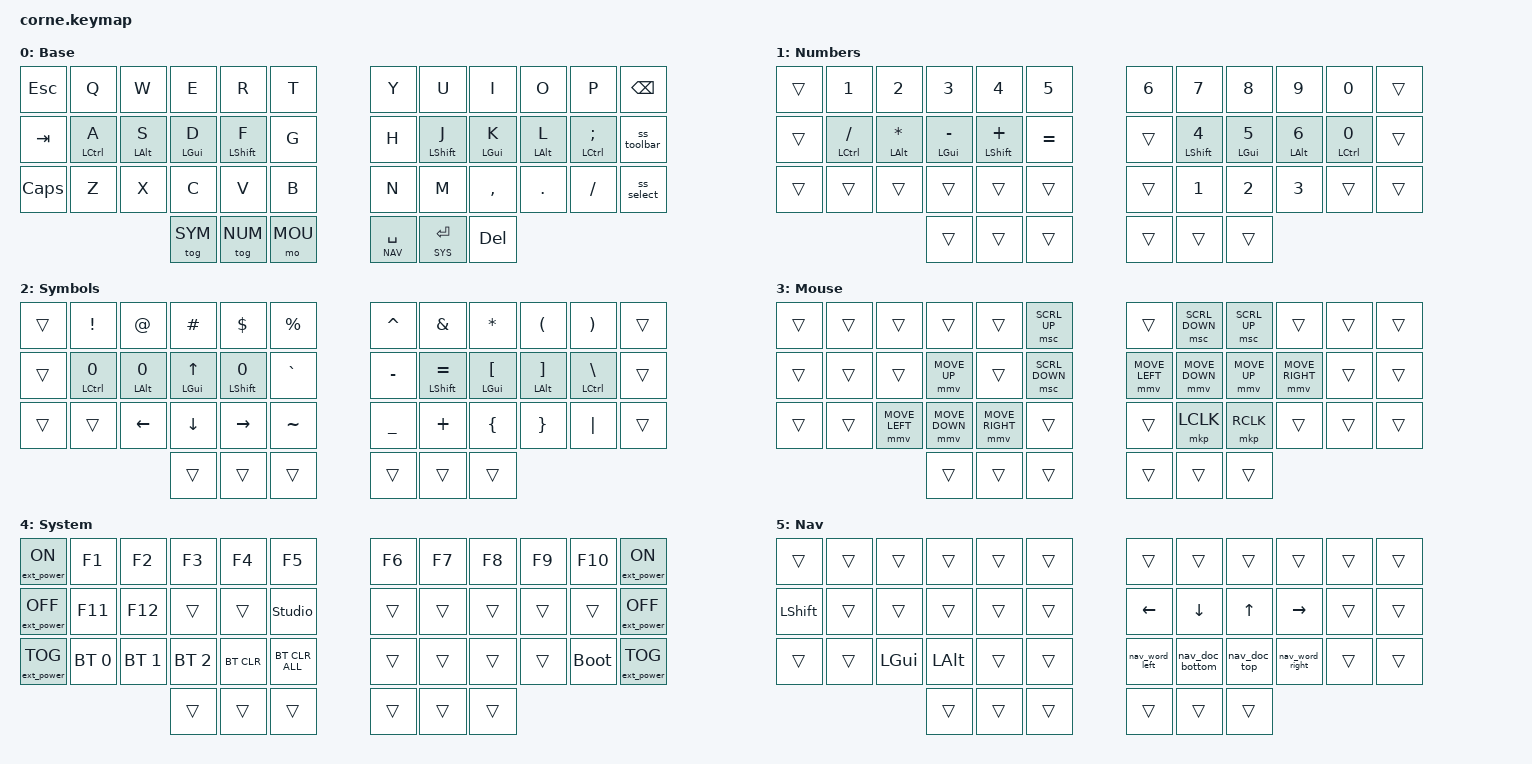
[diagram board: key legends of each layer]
#include <behaviors.dtsi>
#include <dt-bindings/zmk/bt.h>
#include <dt-bindings/zmk/keys.h>
#include <dt-bindings/zmk/pointing.h>
#include <dt-bindings/zmk/ext_power.h>

#define DEF 0
#define NUM 1
#define SYM 2
#define MOU 3
#define SYS 4
#define NAV 5

/ {
    behaviors {
        hm: homerow_mods {
            compatible = "zmk,behavior-hold-tap";
            #binding-cells = <2>;
            tapping-term-ms = <200>;
            flavor = "tap-preferred";
            bindings = <&kp>, <&kp>;

            quick-tap-ms = <180>;
            require-prior-idle-ms = <120>; /* tune to taste */
        };

        sp_nav: sp_nav {
            compatible = "zmk,behavior-hold-tap";
            #binding-cells = <2>;
            flavor = "hold-preferred";
            tapping-term-ms = <200>;
            bindings = <&mo>, <&kp>;
        };

        para: para {
            compatible = "zmk,behavior-tap-dance";
            #binding-cells = <0>;
            bindings = <&kp LEFT_PARENTHESIS>, <&kp RIGHT_PARENTHESIS>;
        };

        caps: caps {
            compatible = "zmk,behavior-caps-word";
            #binding-cells = <0>;
            continue-list = <MINUS BACKSPACE>;
        };

        paraless: paraless {
            compatible = "zmk,behavior-mod-morph";
            bindings = <&kp LEFT_PARENTHESIS>, <&kp LESS_THAN>;

            #binding-cells = <0>;
            mods = <(MOD_LSFT)>;
        };

        paragreat: paragreat {
            compatible = "zmk,behavior-mod-morph";
            bindings = <&kp RIGHT_PARENTHESIS>, <&kp GREATER_THAN>;

            #binding-cells = <0>;
            mods = <(MOD_LSFT)>;
        };
    };

    macros {
        browsertab: browsertab {
            compatible = "zmk,behavior-macro";
            #binding-cells = <0>;
            bindings =
                <&macro_press>, <&kp LCTRL>,
                <&macro_tap>,   <&kp TAB>,
                <&macro_release>, <&kp LCTRL>;
        };
    
        ss_toolbar: ss_toolbar {
            compatible = "zmk,behavior-macro";
            #binding-cells = <0>;
            bindings =
                <&macro_press>,   <&kp LGUI>,   /* Command */
                <&macro_press>,   <&kp LSHFT>,  /* Shift */
                <&macro_tap>,     <&kp N5>,
                <&macro_release>, <&kp LSHFT>,
                <&macro_release>, <&kp LGUI>;
        };
    
        ss_select: ss_select {
            compatible = "zmk,behavior-macro";
            #binding-cells = <0>;
            bindings =
                <&macro_press>,   <&kp LGUI>,
                <&macro_press>,   <&kp LSHFT>,
                <&macro_tap>,     <&kp N4>,
                <&macro_release>, <&kp LSHFT>,
                <&macro_release>, <&kp LGUI>;
        };
        nav_word_left: nav_word_left {
            compatible = "zmk,behavior-macro";
            #binding-cells = <0>;
            bindings =
                <&macro_press>,   <&kp LALT>,          /* Option */
                <&macro_tap>,     <&kp LEFT_ARROW>,
                <&macro_release>, <&kp LALT>;
        };
    
        nav_word_right: nav_word_right {
            compatible = "zmk,behavior-macro";
            #binding-cells = <0>;
            bindings =
                <&macro_press>,   <&kp LALT>,          /* Option */
                <&macro_tap>,     <&kp RIGHT_ARROW>,
                <&macro_release>, <&kp LALT>;
        };
    
        nav_doc_top: nav_doc_top {
            compatible = "zmk,behavior-macro";
            #binding-cells = <0>;
            bindings =
                <&macro_press>,   <&kp LGUI>,          /* Command */
                <&macro_tap>,     <&kp UP_ARROW>,
                <&macro_release>, <&kp LGUI>;
        };
    
        nav_doc_bottom: nav_doc_bottom {
            compatible = "zmk,behavior-macro";
            #binding-cells = <0>;
            bindings =
                <&macro_press>,   <&kp LGUI>,          /* Command */
                <&macro_tap>,     <&kp DOWN_ARROW>,
                <&macro_release>, <&kp LGUI>;
        };
    };

    combos {
        compatible = "zmk,combos";

        escape {
            bindings = <&kp ESCAPE>;
            key-positions = <13 29>;
        };

        delete {
            bindings = <&kp DELETE>;
            key-positions = <15 21>;
        };

        perc {
            bindings = <&kp PERCENT>;
            key-positions = <5 17>;
            layers = <0>;
        };

        equal {
            bindings = <&kp EQUAL>;
            key-positions = <28 16>;
            layers = <0>;
        };

        dollar {
            bindings = <&kp DOLLAR>;
            key-positions = <4 16>;
            layers = <0>;
        };

        pound {
            bindings = <&kp POUND>;
            key-positions = <3 15>;
            layers = <0>;
        };

        at {
            bindings = <&kp AT>;
            key-positions = <2 14>;
            layers = <0>;
        };

        backslash {
            bindings = <&kp BACKSLASH>;
            key-positions = <26 14>;
            layers = <0>;
        };

        star {
            bindings = <&kp STAR>;
            key-positions = <8 20>;
            layers = <0>;
        };

        slash {
            bindings = <&kp SLASH>;
            key-positions = <32 20>;
            layers = <0>;
        };

        plus {
            bindings = <&kp PLUS>;
            key-positions = <7 19>;
            layers = <0>;
        };

        minus {
            bindings = <&kp KP_MINUS>;
            key-positions = <31 19>;
            layers = <0>;
        };

        underscore {
            bindings = <&kp UNDER>;
            key-positions = <30 18>;
            layers = <0>;
        };

        leftbrack {
            bindings = <&kp LEFT_BRACKET>;
            key-positions = <31 32>;
            layers = <0>;
        };

        rightbrack {
            bindings = <&kp RIGHT_BRACKET>;
            key-positions = <33 32>;
            layers = <0>;
        };

        para-less {
            bindings = <&paraless>;
            key-positions = <20 19>;
            layers = <0>;
        };

        para-great {
            bindings = <&paragreat>;
            key-positions = <20 21>;
            layers = <0>;
        };
    };

    //

    keymap {
        compatible = "zmk,keymap";

        DEF {
          display-name = "Base";
        
          bindings = <
            &kp ESCAPE      &kp Q        &kp W        &kp E        &kp R        &kp T         &kp Y        &kp U        &kp I        &kp O        &kp P        &kp BACKSPACE
            &kp TAB   &hm LCTRL A  &hm LALT S   &hm LGUI D   &hm LSHFT F  &kp G         &kp H        &hm LSHFT J  &hm LGUI K   &hm LALT L   &hm LCTRL SEMI  &ss_toolbar
            &kp CAPSLOCK &kp Z        &kp X        &kp C        &kp V        &kp B         &kp N        &kp M        &kp COMMA    &kp DOT      &kp FSLH     &ss_select
        
            &tog SYM   &tog NUM   &mo MOU   &sp_nav NAV SPACE   &lt SYS RET   &kp DELETE
          >;
        };

        NUM {
          display-name = "Numbers";
        
          bindings = <
            &trans   &kp N1   &kp N2   &kp N3   &kp N4   &kp N5     &kp N6   &kp N7   &kp N8   &kp N9   &kp N0   &trans
            &trans   &hm LCTRL FSLH &hm LALT STAR &hm LGUI MINUS &hm LSHFT PLUS &kp EQUAL  &trans   &hm LSHFT N4   &hm LGUI N5   &hm LALT N6   &hm LCTRL N0   &trans
            &trans   &trans   &trans   &trans   &trans   &trans     &trans   &kp N1   &kp N2   &kp N3   &trans   &trans
        
                                     &trans        &trans      &trans            &trans  &trans  &trans
          >;
        };

        SYM {
            display-name = "Symbols";

            // -----------------------------------------------------------------------------------------
            // |  TAB |  !  |  @  |  #  |  $  |  %  |   |  ^  |  &  |  *  |  (  |  )  | BKSP |
            // | CTRL |     |     |     |     |     |   |  -  |  =  |  [  |  ]  |  \  |  `   |
            // | SHFT |     |     |     |     |     |   |  _  |  +  |  {  |  }  | "|" |  ~   |
            //                    | GUI |     | SPC |   | ENT |     | ALT |

            bindings = <
&trans  &kp EXCL  &kp AT          &kp HASH        &kp DLLR         &kp PRCNT    &kp CARET  &kp AMPS   &kp ASTRK  &kp LEFT_PARENTHESIS  &kp RPAR  &trans
&trans  &hm LCTRL N0    &hm LALT N0          &hm LGUI UP_ARROW    &hm LSHFT N0           &kp GRAVE    &kp MINUS  &hm LSHFT EQUAL  &hm LGUI LBKT   &hm LALT RBKT              &hm LCTRL BSLH  &trans
&trans  &trans    &kp LEFT_ARROW  &kp DOWN_ARROW  &kp RIGHT_ARROW  &kp TILDE    &kp UNDER  &kp PLUS   &kp LBRC   &kp RBRC              &kp PIPE  &trans
                                     &trans        &trans      &trans            &trans  &trans  &trans
            >;
        };

        MOU {
                display-name = "Mouse";
            bindings = <
&trans  &trans       &trans         &trans          &trans      &msc SCRL_UP    &trans  &msc SCRL_DOWN  &msc SCRL_UP  &trans  &trans      &trans
&trans  &trans       &trans        &mmv MOVE_UP      &trans   &msc SCRL_DOWN       &mmv MOVE_LEFT  &mmv MOVE_DOWN  &mmv MOVE_UP  &mmv MOVE_RIGHT    &trans    &trans  
&trans  &trans       &mmv MOVE_LEFT   &mmv MOVE_DOWN  &mmv MOVE_RIGHT  &trans    &trans  &mkp LCLK  &mkp RCLK  &trans  &trans  &trans
                                     &trans        &trans      &trans            &trans  &trans  &trans
            >;
        };

        SYS {
            display-name = "System";
            bindings = <
&ext_power EP_ON  &kp F1        &kp F2        &kp F3        &kp F4      &kp F5            &kp F6  &kp F7  &kp F8  &kp F9  &kp F10      &ext_power EP_ON
&ext_power EP_OFF  &kp F11       &kp F12       &trans        &trans      &studio_unlock            &trans  &trans  &trans  &trans  &trans       &ext_power EP_OFF
&ext_power EP_TOG  &bt BT_SEL 0  &bt BT_SEL 1  &bt BT_SEL 2  &bt BT_CLR  &bt BT_CLR_ALL    &trans  &trans  &trans  &trans  &bootloader  &ext_power EP_TOG
                                    &trans        &trans      &trans            &trans  &trans  &trans
            >;
        };


        NAV {
          display-name = "Nav";
        
          bindings = <
            &trans &trans &trans &trans &trans &trans      &trans &trans &trans &trans &trans &trans
            &kp LSHFT &trans &trans &trans &trans &trans   &kp LEFT_ARROW &kp DOWN_ARROW &kp UP_ARROW &kp RIGHT_ARROW &trans &trans
            &trans &trans &kp LGUI &kp LALT &trans &trans  &nav_word_left &nav_doc_bottom &nav_doc_top &nav_word_right &trans &trans
        
                                     &trans        &trans      &trans            &trans  &trans  &trans
          >;
        };

    };

};
    
